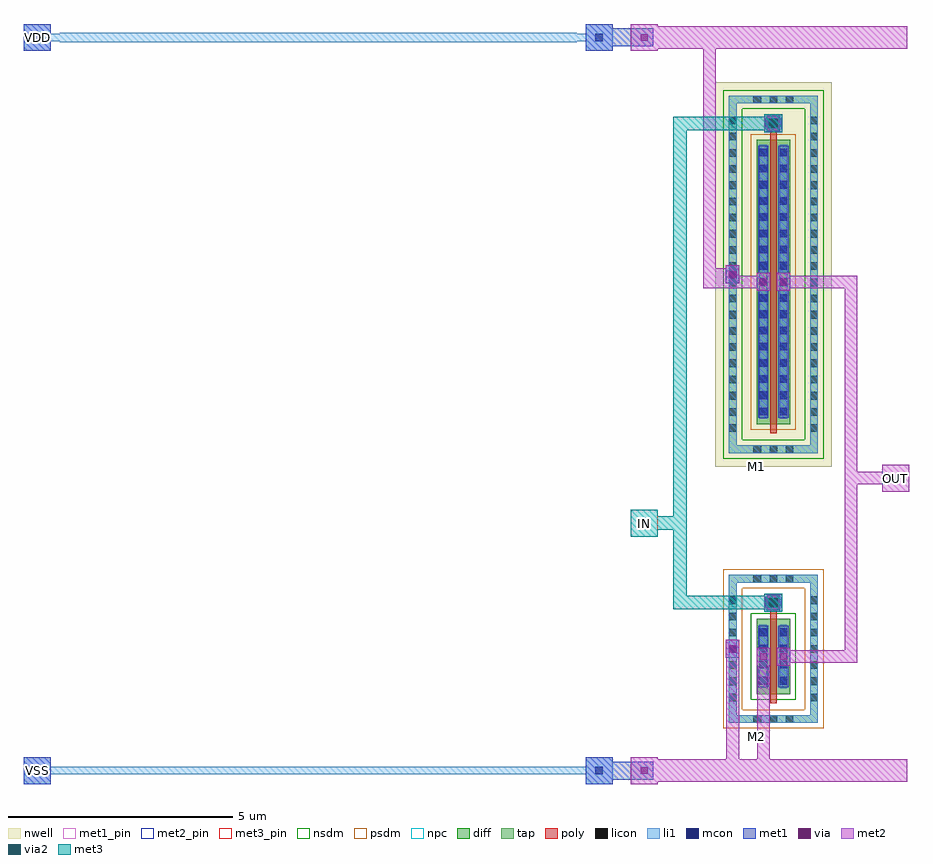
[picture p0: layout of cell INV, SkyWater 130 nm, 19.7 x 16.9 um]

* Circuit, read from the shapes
.subckt INV IN OUT VDD VSS
XM1 OUT IN VSS VSS sky130_fd_pr__nfet_01v8 w=1.67 l=0.15
XM2 OUT IN VDD VDD sky130_fd_pr__pfet_01v8 w=6.325 l=0.15
.ends

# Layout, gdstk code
import gdstk
lib = gdstk.Library(unit=1e-6, precision=1e-09)
def R(c, l, rs):  # rectangles x0, y0, x1, y1
    for r in rs: c.add(gdstk.rectangle(r[:2], r[2:], *l))
def A(c, l, x, y, w, h, nx, ny, dx, dy):  # array of equal rectangles
    R(c, l, [(x+i*dx, y+j*dy, x+i*dx+w, y+j*dy+h) for i in range(nx) for j in range(ny)])
def P(c, l, *ps):  # polygons
    for p in ps: c.add(gdstk.Polygon(p, *l))
nwell = (64, 20)
diff = (65, 20)
tap = (65, 44)
poly = (66, 20)
licon = (66, 44)
li1 = (67, 20)
mcon = (67, 44)
met1_pin = (68, 16)
met1 = (68, 20)
via = (68, 44)
met2_pin = (69, 16)
met2 = (69, 20)
via2 = (69, 44)
met3_pin = (70, 16)
met3 = (70, 20)
nsdm = (93, 44)
psdm = (94, 20)
npc = (95, 20)

pfet = lib.new_cell('pfet')
R(pfet, nwell, [(-0.92,-0.945,1.67,7.61)])
R(pfet, diff, [(0,0,0.75,6.325)])
P(pfet, tap, [(-0.615,-0.64),(-0.615,7.135),(-0.445,7.135),(-0.445,-0.47),(1.195,-0.47),(1.195,7.135),(-0.615,7.135),(-0.615,7.305),(1.365,7.305),(1.365,-0.64)])
R(pfet, poly, [(0.3,-0.2,0.45,6.525), (0.24,6.525,0.51,6.855)])
A(pfet, licon, -0.07, -0.64, 0.17, 0.17, 3, 2, 0.36, 7.775)
A(pfet, licon, -0.615, -0.17, 0.17, 0.17, 1, 20, 0, 0.36)
A(pfet, licon, 1.195, -0.17, 0.17, 0.17, 1, 20, 0, 0.36)
A(pfet, licon, 0.065, 0.2, 0.17, 0.17, 1, 17, 0, 0.36)
A(pfet, licon, 0.515, 0.2, 0.17, 0.17, 1, 17, 0, 0.36)
R(pfet, licon, [(0.29,6.605,0.46,6.775)])
R(pfet, li1, [(0.065,0.12,0.235,6.21), (0.515,0.12,0.685,6.21), (0.21,6.605,0.54,6.775)])
P(pfet, li1, [(-0.615,-0.64),(-0.615,7.135),(-0.445,7.135),(-0.445,-0.47),(1.195,-0.47),(1.195,7.135),(-0.615,7.135),(-0.615,7.305),(1.365,7.305),(1.365,-0.64)])
A(pfet, mcon, 0.065, 0.2, 0.17, 0.17, 1, 17, 0, 0.36)
A(pfet, mcon, 0.515, 0.2, 0.17, 0.17, 1, 17, 0, 0.36)
R(pfet, mcon, [(0.29,6.605,0.46,6.775)])
R(pfet, met1, [(0.035,0.14,0.265,6.19), (0.485,0.14,0.715,6.19), (0.19,6.575,0.56,6.805)])
P(pfet, nsdm, [(-0.74,-0.765),(-0.74,7.01),(-0.32,7.01),(-0.32,-0.345),(1.07,-0.345),(1.07,7.01),(-0.74,7.01),(-0.74,7.43),(1.49,7.43),(1.49,-0.765)])
R(pfet, psdm, [(-0.125,-0.125,0.875,6.45)])
R(pfet, npc, [(0.23,6.515,0.52,6.865)])

nfet = lib.new_cell('nfet')
R(nfet, diff, [(0,0,0.75,1.67)])
P(nfet, tap, [(-0.615,-0.64),(-0.615,2.48),(-0.445,2.48),(-0.445,-0.47),(1.195,-0.47),(1.195,2.48),(-0.615,2.48),(-0.615,2.65),(1.365,2.65),(1.365,-0.64)])
R(nfet, poly, [(0.3,-0.2,0.45,1.87), (0.24,1.87,0.51,2.2)])
A(nfet, licon, -0.07, -0.64, 0.17, 0.17, 3, 2, 0.36, 3.12)
A(nfet, licon, -0.615, -0.16, 0.17, 0.17, 1, 7, 0, 0.36)
A(nfet, licon, 1.195, -0.16, 0.17, 0.17, 1, 7, 0, 0.36)
A(nfet, licon, 0.065, 0.21, 0.17, 0.17, 1, 4, 0, 0.36)
A(nfet, licon, 0.515, 0.21, 0.17, 0.17, 1, 4, 0, 0.36)
R(nfet, licon, [(0.29,1.95,0.46,2.12)])
R(nfet, li1, [(0.065,0.13,0.235,1.54), (0.515,0.13,0.685,1.54), (0.21,1.95,0.54,2.12)])
P(nfet, li1, [(-0.615,-0.64),(-0.615,2.48),(-0.445,2.48),(-0.445,-0.47),(1.195,-0.47),(1.195,2.48),(-0.615,2.48),(-0.615,2.65),(1.365,2.65),(1.365,-0.64)])
A(nfet, mcon, 0.065, 0.21, 0.17, 0.17, 1, 4, 0, 0.36)
A(nfet, mcon, 0.515, 0.21, 0.17, 0.17, 1, 4, 0, 0.36)
R(nfet, mcon, [(0.29,1.95,0.46,2.12)])
R(nfet, met1, [(0.035,0.15,0.265,1.52), (0.485,0.15,0.715,1.52), (0.19,1.92,0.56,2.15)])
R(nfet, nsdm, [(-0.125,-0.125,0.875,1.795)])
P(nfet, psdm, [(-0.74,-0.765),(-0.74,2.355),(-0.32,2.355),(-0.32,-0.345),(1.07,-0.345),(1.07,2.355),(-0.74,2.355),(-0.74,2.775),(1.49,2.775),(1.49,-0.765)])
R(nfet, npc, [(0.23,1.86,0.52,2.21)])

inv = lib.new_cell('INV')
R(inv, li1, [(-16.3,-2,-15.7,-1.4), (-3.8,-2,-3.2,-1.4), (-16,-1.785,-3.5,-1.615), (-16.3,14.3,-15.7,14.9), (-3.8,14.3,-3.2,14.9), (-15.5,14.495,-4,14.705), (-16,14.515,-3.5,14.685)])
R(inv, mcon, [(-16.085,-1.785,-15.915,-1.615), (-3.585,-1.785,-3.415,-1.615), (-0.615,0.92,-0.445,1.09), (-0.615,9.245,-0.445,9.415), (-16.085,14.515,-15.915,14.685), (-3.585,14.515,-3.415,14.685)])
R(inv, met1_pin, [(-16.3,-2,-15.7,-1.4), (-16.3,14.3,-15.7,14.9)])
R(inv, met1, [(-16.3,-2,-15.7,-1.4), (-3.8,-2,-3.2,-1.4), (-3.5,-1.9,-2.5,-1.5), (-2.7,-1.9,-2.3,-1.5), (0,0.635,0.3,1.035), (0.45,0.635,0.75,1.035), (-0.68,0.805,-0.38,1.205), (0.225,1.835,0.525,2.235), (0,8.965,0.3,9.365), (0.45,8.965,0.75,9.365), (-0.68,9.13,-0.38,9.53), (0.225,12.49,0.525,12.89), (-16.3,14.3,-15.7,14.9), (-3.8,14.3,-3.2,14.9), (-3.5,14.4,-2.5,14.8), (-2.7,14.4,-2.3,14.8)])
R(inv, via, [(-2.575,-1.775,-2.425,-1.625), (0.075,0.76,0.225,0.91), (0.525,0.76,0.675,0.91), (-0.605,0.93,-0.455,1.08), (0.3,1.96,0.45,2.11), (0.075,9.09,0.225,9.24), (0.525,9.09,0.675,9.24), (-0.605,9.255,-0.455,9.405), (0.3,12.615,0.45,12.765), (-2.575,14.525,-2.425,14.675)])
R(inv, met2_pin, [(2.8,4.5,3.4,5.1)])
R(inv, met2, [(-2.8,-2,-2.2,-1.4), (0,0.635,0.3,1.035), (0.45,0.635,0.75,1.035), (-0.68,0.805,-0.38,1.205), (0.175,1.835,0.575,2.235), (0.225,1.835,0.525,2.235), (2.8,4.5,3.4,5.1), (0,8.965,0.3,9.365), (0.45,8.965,0.75,9.365), (-0.68,9.13,-0.38,9.53), (0.175,12.49,0.575,12.89), (0.225,12.49,0.525,12.89), (-2.8,14.3,-2.2,14.9)])
R(inv, via2, [(0.275,1.935,0.475,2.135), (0.275,12.59,0.475,12.79)])
R(inv, met3_pin, [(-2.8,3.5,-2.2,4.1)])
R(inv, met3, [(0.175,1.835,0.575,2.235), (-2.8,3.5,-2.2,4.1), (0.175,12.49,0.575,12.89)])
inv.add(gdstk.FlexPath([(2.1,4.8),(3.1,4.8)], 0.28, ends="extended", simple_path=True, layer=69, datatype=20))  # met2
inv.add(gdstk.FlexPath([(0.6,9.165),(2.1,9.165),(2.1,4.8)], 0.28, ends="extended", simple_path=True, layer=69, datatype=20))  # met2
inv.add(gdstk.FlexPath([(0.6,0.835),(2.1,0.835),(2.1,4.8)], 0.28, ends="extended", simple_path=True, layer=69, datatype=20))  # met2
inv.add(gdstk.FlexPath([(-0.53,9.33),(-1.05,9.33),(-1.05,14.6)], 0.28, ends="extended", simple_path=True, layer=69, datatype=20))  # met2
inv.add(gdstk.FlexPath([(0.15,9.165),(-1.05,9.165),(-1.05,14.6)], 0.28, ends="extended", simple_path=True, layer=69, datatype=20))  # met2
inv.add(gdstk.FlexPath([(-0.53,1.005),(-0.53,-1.7)], 0.28, ends="extended", simple_path=True, layer=69, datatype=20))  # met2
inv.add(gdstk.FlexPath([(0.15,0.835),(0.15,-1.7)], 0.28, ends="extended", simple_path=True, layer=69, datatype=20))  # met2
inv.add(gdstk.FlexPath([(-2.5,-1.7),(3.1,-1.7)], 0.5, ends="extended", simple_path=True, layer=69, datatype=20))  # met2
inv.add(gdstk.FlexPath([(-2.5,14.6),(3.1,14.6)], 0.5, ends="extended", simple_path=True, layer=69, datatype=20))  # met2
inv.add(gdstk.FlexPath([(-2.5,3.8),(-1.7,3.8)], 0.3, ends="extended", simple_path=True, layer=70, datatype=20))  # met3
inv.add(gdstk.FlexPath([(0.375,12.69),(-1.7,12.69),(-1.7,3.8)], 0.3, ends="extended", simple_path=True, layer=70, datatype=20))  # met3
inv.add(gdstk.FlexPath([(0.375,2.035),(-1.7,2.035),(-1.7,3.8)], 0.3, ends="extended", simple_path=True, layer=70, datatype=20))  # met3
inv.add(gdstk.Reference(pfet, (0,6)))
inv.add(gdstk.Reference(nfet, (0,0)))
inv.add(gdstk.Label('M1', (0,5.05), layer=200, texttype=5))
inv.add(gdstk.Label('M2', (0,-0.95), layer=200, texttype=5))
inv.add(gdstk.Label('OUT', (3.1,4.8), layer=69, texttype=5))
inv.add(gdstk.Label('IN', (-2.5,3.8), layer=70, texttype=5))
inv.add(gdstk.Label('VDD', (-16,14.6), layer=68, texttype=5))
inv.add(gdstk.Label('VSS', (-16,-1.7), layer=68, texttype=5))

lib.write_gds('INV.gds')
